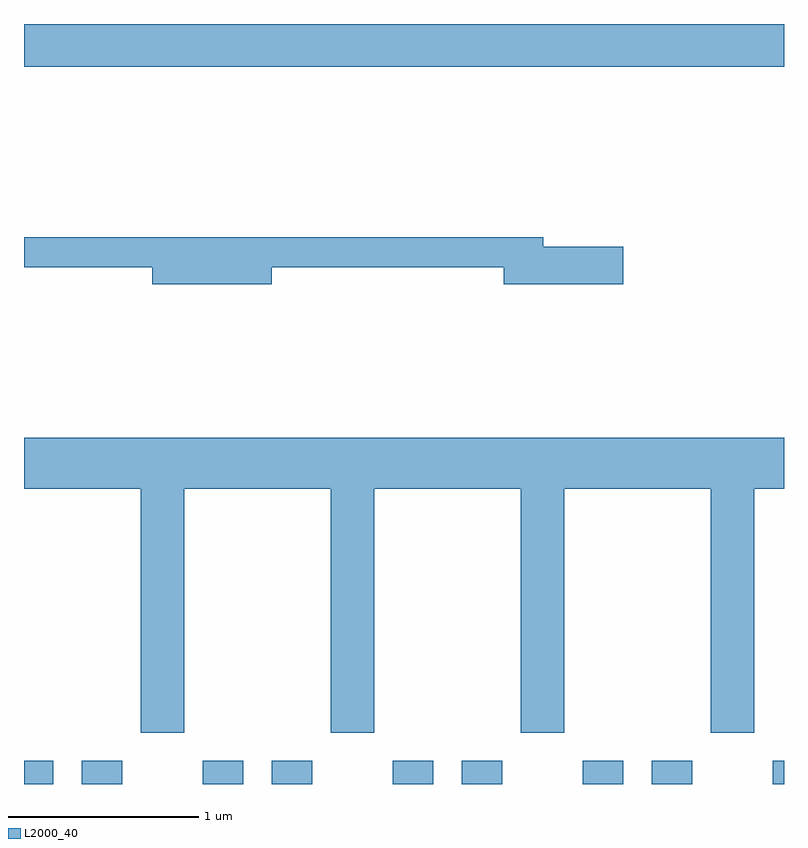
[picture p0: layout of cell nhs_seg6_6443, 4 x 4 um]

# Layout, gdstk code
import gdstk
lib = gdstk.Library(unit=1e-6, precision=1e-09)
def R(c, l, rs):  # rectangles x0, y0, x1, y1
    for r in rs: c.add(gdstk.rectangle(r[:2], r[2:], *l))
def P(c, l, *ps):  # polygons
    for p in ps: c.add(gdstk.Polygon(p, *l))
L2000_40 = (2000, 40)

nhs_seg6_6443 = lib.new_cell('nhs_seg6_6443')
R(nhs_seg6_6443, L2000_40, [(379.611,1646.162,379.764,1646.284), (379.916,1646.162,380.129,1646.284), (380.551,1646.162,380.764,1646.284), (380.916,1646.162,381.129,1646.284), (381.551,1646.162,381.764,1646.284), (381.916,1646.162,382.129,1646.284), (382.551,1646.162,382.764,1646.284), (382.916,1646.162,383.129,1646.284), (383.551,1646.162,383.611,1646.284), (379.611,1649.936,383.611,1650.162)])
P(nhs_seg6_6443, L2000_40, [(380.914,1648.881),(382.136,1648.881),(382.136,1648.791),(382.764,1648.791),(382.764,1648.989),(382.344,1648.989),(382.344,1649.039),(379.611,1649.039),(379.611,1648.881),(380.286,1648.881),(380.286,1648.791),(380.914,1648.791)],
  [(380.454,1647.716),(381.226,1647.716),(381.226,1646.431),(381.454,1646.431),(381.454,1647.716),(382.226,1647.716),(382.226,1646.431),(382.454,1646.431),(382.454,1647.716),(383.226,1647.716),(383.226,1646.431),(383.454,1646.431),(383.454,1647.716),(383.611,1647.716),(383.611,1647.984),(379.611,1647.984),(379.611,1647.716),(380.226,1647.716),(380.226,1646.431),(380.454,1646.431)])

lib.write_gds('nhs_seg6_6443.gds')
